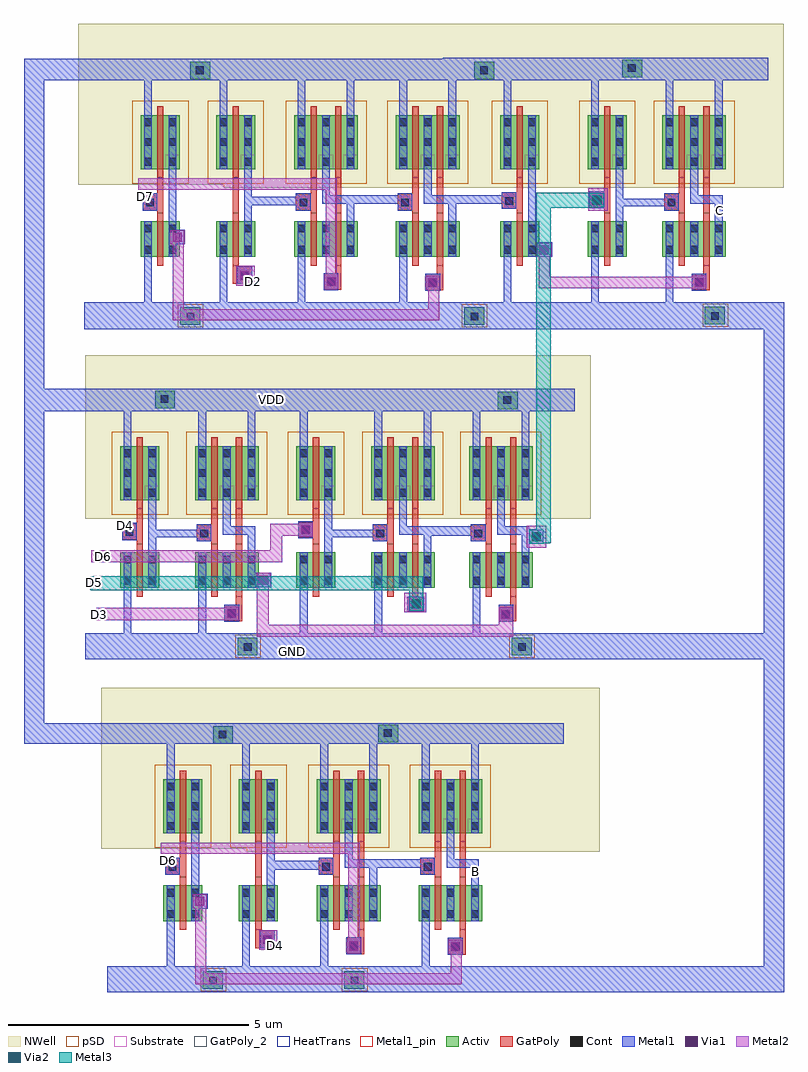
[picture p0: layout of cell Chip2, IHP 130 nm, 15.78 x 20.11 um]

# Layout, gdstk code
from math import pi, radians
import gdstk
lib = gdstk.Library(unit=1e-6, precision=1e-09)
def R(c, l, rs):  # rectangles x0, y0, x1, y1
    for r in rs: c.add(gdstk.rectangle(r[:2], r[2:], *l))
def A(c, l, x, y, w, h, nx, ny, dx, dy):  # array of equal rectangles
    R(c, l, [(x+i*dx, y+j*dy, x+i*dx+w, y+j*dy+h) for i in range(nx) for j in range(ny)])
def P(c, l, *ps):  # polygons
    for p in ps: c.add(gdstk.Polygon(p, *l))
Activ = (1, 0)
GatPoly = (5, 0)
GatPoly_2 = (5, 2)
Cont = (6, 0)
Metal1 = (8, 0)
Metal1_pin = (8, 2)
Metal2 = (10, 0)
pSD = (14, 0)
Via1 = (19, 0)
Via2 = (29, 0)
Metal3 = (30, 0)
NWell = (31, 0)
Substrate = (40, 0)
HeatTrans = (51, 0)

via_stack = lib.new_cell('via_stack')
R(via_stack, Metal1, [(-0.145,-0.145,0.145,0.145)])
R(via_stack, Metal2, [(-0.145,-0.145,0.145,0.145)])
R(via_stack, Via1, [(-0.095,-0.095,0.095,0.095)])

nmos = lib.new_cell('nmos')
R(nmos, Activ, [(0,0,0.3,0.3), (0,0,0.81,0.74), (0.51,0,0.81,0.3)])
R(nmos, GatPoly, [(0.34,-0.18,0.47,0.92)])
R(nmos, GatPoly_2, [(0.34,-0.18,0.47,0.92)])
R(nmos, Cont, [(0.07,0.07,0.23,0.23), (0.58,0.07,0.74,0.23), (0.07,0.51,0.23,0.67), (0.58,0.51,0.74,0.67)])
R(nmos, Metal1, [(0.07,0,0.23,0.74), (0.58,0,0.74,0.74)])
R(nmos, Metal1_pin, [(0.07,0,0.23,0.74), (0.58,0,0.74,0.74)])
R(nmos, HeatTrans, [(0.34,-0.18,0.47,0.92)])
nmos.add(gdstk.Label('nmos', (0.405,0.37), layer=63, texttype=0))
nmos.add(gdstk.Label('nmos', (0.405,0.37), layer=51, texttype=0))

pmos = lib.new_cell('pmos')
R(pmos, Activ, [(0,0,0.3,0.3), (0,0,0.81,1.12), (0.51,0,0.81,0.3)])
R(pmos, GatPoly, [(0.34,-0.18,0.47,1.3), (0.34,-0.18,0.47,1.3)])
A(pmos, Cont, 0.07, 0.07, 0.16, 0.16, 1, 3, 0, 0.41)
A(pmos, Cont, 0.58, 0.07, 0.16, 0.16, 1, 3, 0, 0.41)
R(pmos, Metal1, [(0.07,0,0.23,1.12), (0.07,0,0.23,1.12), (0.58,0,0.74,1.12), (0.58,0,0.74,1.12)])
R(pmos, pSD, [(-0.18,-0.3,0.99,1.42)])
R(pmos, NWell, [(-0.31,-0.31,1.12,1.43)])
R(pmos, Substrate, [(0.51,0,0.81,0.3)])
R(pmos, HeatTrans, [(0.34,-0.18,0.47,1.3)])
pmos.add(gdstk.Label('pmos', (0.405,0.56), layer=63, texttype=0))
pmos.add(gdstk.Label('pmos', (0.405,0.56), layer=51, texttype=0))

via_stack_1 = lib.new_cell('via_stack$1')
R(via_stack_1, Metal1, [(-0.145,-0.145,0.145,0.145)])
R(via_stack_1, Metal2, [(-0.145,-0.145,0.145,0.145)])
R(via_stack_1, Via1, [(-0.095,-0.095,0.095,0.095)])
R(via_stack_1, Via2, [(-0.095,-0.095,0.095,0.095)])
R(via_stack_1, Metal3, [(-0.145,-0.145,0.145,0.145)])

chip2 = lib.new_cell('Chip2')
R(chip2, Activ, [(8.46,-23.35,8.87,-22.985), (11.395,-23.35,11.805,-22.985), (8.67,-18.26,9.08,-17.895), (12.1,-18.23,12.51,-17.865), (9.18,-16.425,9.59,-16.06), (14.87,-16.425,15.28,-16.06), (14.58,-11.32,14.99,-10.955), (7.465,-11.3,7.875,-10.935), (7.99,-9.565,8.4,-9.2), (13.885,-9.565,14.295,-9.2), (18.88,-9.555,19.29,-9.19), (8.2,-4.475,8.61,-4.11), (14.095,-4.475,14.505,-4.11), (17.165,-4.43,17.575,-4.065)])
R(chip2, GatPoly, [(9.545,-21.055,9.675,-20.15), (11.675,-21.055,11.805,-20.15), (13.785,-21.055,13.915,-20.15), (9.145,-14.14,9.275,-13.235), (12.8,-14.14,12.93,-13.235), (14.835,-14.14,14.965,-13.235), (9.075,-7.27,9.205,-6.365), (11.205,-7.27,11.335,-6.365), (13.315,-7.27,13.445,-6.365), (16.785,-7.27,16.915,-6.365), (18.845,-7.27,18.975,-6.365)])
P(chip2, GatPoly, [(10.74,-14.14),(10.74,-13.985),(10.435,-13.985),(10.435,-13.655),(10.74,-13.655),(10.74,-13.235),(10.87,-13.235),(10.87,-14.14)],
  [(18.335,-7.27),(18.335,-7.19),(18.03,-7.19),(18.03,-6.845),(18.335,-6.845),(18.335,-6.365),(18.465,-6.365),(18.465,-7.27)],
  [(18.605,-8.855),(18.605,-8.51),(18.845,-8.51),(18.845,-8.285),(18.975,-8.285),(18.975,-8.855)],
  [(14.97,-7.24),(14.97,-7.16),(14.665,-7.16),(14.665,-6.815),(14.97,-6.815),(14.97,-6.335),(15.1,-6.335),(15.1,-7.24)],
  [(7.085,-14.11),(7.085,-14.03),(6.78,-14.03),(6.78,-13.685),(7.085,-13.685),(7.085,-13.205),(7.215,-13.205),(7.215,-14.11)],
  [(12.7,-15.515),(12.7,-15.21),(12.8,-15.21),(12.8,-15.13),(12.93,-15.13),(12.93,-15.21),(13.045,-15.21),(13.045,-15.515)],
  [(12.29,-14.14),(12.29,-14.06),(11.985,-14.06),(11.985,-13.715),(12.29,-13.715),(12.29,-13.235),(12.42,-13.235),(12.42,-14.14)],
  [(8.905,-15.725),(8.905,-15.38),(9.145,-15.38),(9.145,-15.155),(9.275,-15.155),(9.275,-15.725)],
  [(8.635,-14.14),(8.635,-14.06),(8.33,-14.06),(8.33,-13.715),(8.635,-13.715),(8.635,-13.235),(8.765,-13.235),(8.765,-14.14)],
  [(14.595,-15.725),(14.595,-15.38),(14.835,-15.38),(14.835,-15.155),(14.965,-15.155),(14.965,-15.725)],
  [(14.325,-14.14),(14.325,-14.06),(14.02,-14.06),(14.02,-13.715),(14.325,-13.715),(14.325,-13.235),(14.455,-13.235),(14.455,-14.14)],
  [(9.545,-22.505),(9.545,-22.115),(9.675,-22.115),(9.675,-22.15),(9.95,-22.15),(9.95,-22.505)],
  [(7.98,-21.055),(7.98,-20.98),(7.675,-20.98),(7.675,-20.625),(7.98,-20.625),(7.98,-20.15),(8.11,-20.15),(8.11,-21.055)],
  [(11.435,-22.63),(11.435,-22.285),(11.675,-22.285),(11.675,-22.06),(11.805,-22.06),(11.805,-22.63)],
  [(13.545,-22.64),(13.545,-22.295),(13.785,-22.295),(13.785,-22.07),(13.915,-22.07),(13.915,-22.64)],
  [(13.275,-21.055),(13.275,-20.975),(12.97,-20.975),(12.97,-20.63),(13.275,-20.63),(13.275,-20.15),(13.405,-20.15),(13.405,-21.055)],
  [(11.165,-21.055),(11.165,-20.975),(10.86,-20.975),(10.86,-20.63),(11.165,-20.63),(11.165,-20.15),(11.295,-20.15),(11.295,-21.055)],
  [(16.48,-7.145),(16.48,-6.8),(16.785,-6.8),(16.785,-6.9),(16.865,-6.9),(16.865,-7.03),(16.785,-7.03),(16.785,-7.145)],
  [(9.075,-8.72),(9.075,-8.33),(9.205,-8.33),(9.205,-8.365),(9.48,-8.365),(9.48,-8.72)],
  [(7.51,-7.27),(7.51,-7.195),(7.205,-7.195),(7.205,-6.84),(7.51,-6.84),(7.51,-6.365),(7.64,-6.365),(7.64,-7.27)],
  [(10.965,-8.845),(10.965,-8.5),(11.205,-8.5),(11.205,-8.275),(11.335,-8.275),(11.335,-8.845)],
  [(13.075,-8.855),(13.075,-8.51),(13.315,-8.51),(13.315,-8.285),(13.445,-8.285),(13.445,-8.855)],
  [(12.805,-7.27),(12.805,-7.19),(12.5,-7.19),(12.5,-6.845),(12.805,-6.845),(12.805,-6.365),(12.935,-6.365),(12.935,-7.27)],
  [(10.695,-7.27),(10.695,-7.19),(10.39,-7.19),(10.39,-6.845),(10.695,-6.845),(10.695,-6.365),(10.825,-6.365),(10.825,-7.27)])
R(chip2, Cont, [(8.59,-23.26,8.75,-23.1), (11.525,-23.26,11.685,-23.1), (13.62,-22.56,13.78,-22.4), (13.62,-22.56,13.78,-22.4), (11.51,-22.55,11.67,-22.39), (11.51,-22.55,11.67,-22.39), (9.72,-22.42,9.88,-22.26), (9.72,-22.42,9.88,-22.26), (7.75,-20.895,7.91,-20.735), (7.75,-20.895,7.91,-20.735), (10.935,-20.895,11.095,-20.735), (10.935,-20.895,11.095,-20.735), (13.045,-20.895,13.205,-20.735), (13.045,-20.895,13.205,-20.735), (8.785,-18.15,8.945,-17.99), (12.215,-18.12,12.375,-17.96), (9.31,-16.335,9.47,-16.175), (15,-16.335,15.16,-16.175), (8.98,-15.645,9.14,-15.485), (8.98,-15.645,9.14,-15.485), (14.67,-15.645,14.83,-15.485), (14.67,-15.645,14.83,-15.485), (12.805,-15.44,12.965,-15.28), (12.805,-15.44,12.965,-15.28), (8.405,-13.98,8.565,-13.82), (8.405,-13.98,8.565,-13.82), (12.06,-13.98,12.22,-13.82), (12.06,-13.98,12.22,-13.82), (14.095,-13.98,14.255,-13.82), (14.095,-13.98,14.255,-13.82), (6.855,-13.95,7.015,-13.79), (6.855,-13.95,7.015,-13.79), (10.51,-13.91,10.67,-13.75), (10.51,-13.91,10.67,-13.75), (14.695,-11.21,14.855,-11.05), (7.58,-11.19,7.74,-11.03), (8.12,-9.475,8.28,-9.315), (14.015,-9.475,14.175,-9.315), (19.01,-9.465,19.17,-9.305), (13.15,-8.775,13.31,-8.615), (13.15,-8.775,13.31,-8.615), (18.68,-8.775,18.84,-8.615), (18.68,-8.775,18.84,-8.615), (11.04,-8.765,11.2,-8.605), (11.04,-8.765,11.2,-8.605), (9.25,-8.635,9.41,-8.475), (9.25,-8.635,9.41,-8.475), (7.28,-7.11,7.44,-6.95), (7.28,-7.11,7.44,-6.95), (10.465,-7.11,10.625,-6.95), (10.465,-7.11,10.625,-6.95), (12.575,-7.11,12.735,-6.95), (12.575,-7.11,12.735,-6.95), (18.105,-7.11,18.265,-6.95), (18.105,-7.11,18.265,-6.95), (14.735,-7.075,14.895,-6.915), (16.555,-7.065,16.715,-6.905), (16.555,-7.065,16.715,-6.905), (8.315,-4.365,8.475,-4.205), (14.21,-4.365,14.37,-4.205), (17.28,-4.32,17.44,-4.16)])
R(chip2, Metal1, [(10.895,-22.97,11.055,-21.905), (13.005,-22.97,13.165,-21.905), (13.545,-22.645,13.85,-22.29), (11.435,-22.635,11.74,-22.28), (9.645,-22.505,9.95,-22.15), (8.22,-21.685,8.555,-21.38), (8.22,-21.685,8.555,-21.38), (8.22,-21.26,8.38,-20.12), (9.785,-21.26,9.945,-20.12), (7.675,-20.98,7.98,-20.625), (10.86,-20.98,11.165,-20.625), (12.97,-20.98,13.275,-20.625), (9.79,-20.875,10.86,-20.695), (11.9,-20.84,12.97,-20.66), (11.915,-19.22,12.075,-18.155), (14.025,-19.22,14.185,-18.155), (8.365,-16.055,8.525,-14.99), (12.02,-16.055,12.18,-14.99), (14.055,-16.055,14.215,-14.99), (8.905,-15.73,9.21,-15.375), (14.595,-15.73,14.9,-15.375), (12.695,-15.515,13.05,-15.21), (9.545,-15.02,9.88,-14.715), (9.545,-15.02,9.88,-14.715), (7.325,-14.345,7.485,-13.205), (10.98,-14.345,11.14,-13.205), (8.33,-14.065,8.635,-13.71), (11.985,-14.065,12.29,-13.71), (6.78,-14.035,7.085,-13.68), (10.435,-13.995,10.74,-13.64), (7.425,-13.98,8.565,-13.82), (11.08,-13.98,12.22,-13.82), (13.075,-8.86,13.38,-8.505), (18.605,-8.86,18.91,-8.505), (10.965,-8.85,11.27,-8.495), (9.175,-8.72,9.48,-8.365), (15.37,-8.16,15.705,-7.855), (15.37,-8.16,15.705,-7.855), (7.75,-7.9,8.085,-7.595), (7.75,-7.9,8.085,-7.595), (7.75,-7.475,7.91,-6.335), (9.315,-7.475,9.475,-6.335), (15.21,-7.475,15.37,-6.335), (17.025,-7.475,17.185,-6.335), (7.205,-7.195,7.51,-6.84), (10.39,-7.195,10.695,-6.84), (12.5,-7.195,12.805,-6.84), (18.03,-7.195,18.335,-6.84), (16.48,-7.15,16.785,-6.795), (17.125,-7.11,18.265,-6.95), (9.32,-7.09,10.39,-6.91), (11.43,-7.055,12.5,-6.875)])
P(chip2, Metal1, [(13.555,-8.075),(13.555,-7.055),(13.045,-7.055),(13.045,-5.95),(13.205,-5.95),(13.205,-6.875),(14.665,-6.875),(14.665,-6.815),(14.96,-6.815),(14.96,-7.16),(14.665,-7.16),(14.665,-7.055),(13.715,-7.055),(13.715,-8.075)],
  [(10.895,-19.07),(10.895,-18.26),(9.435,-18.26),(9.435,-19.01),(9.275,-19.01),(9.275,-18.26),(7.87,-18.26),(7.87,-19.01),(7.71,-19.01),(7.71,-18.26),(4.745,-18.26),(4.745,-4.04),(13.44,-4.04),(13.44,-4.025),(20.19,-4.025),(20.19,-4.495),(19.245,-4.495),(19.245,-5.435),(19.085,-5.435),(19.085,-4.495),(18.225,-4.495),(18.225,-5.285),(18.065,-5.285),(18.065,-4.495),(16.675,-4.495),(16.675,-5.225),(16.515,-5.225),(16.515,-4.495),(14.86,-4.495),(14.86,-5.225),(14.7,-5.225),(14.7,-4.495),(13.715,-4.495),(13.715,-5.435),(13.555,-5.435),(13.555,-4.495),(12.695,-4.495),(12.695,-5.285),(12.535,-5.285),(12.535,-4.495),(11.605,-4.495),(11.605,-5.435),(11.445,-5.435),(11.445,-4.495),(10.585,-4.495),(10.585,-5.285),(10.425,-5.285),(10.425,-4.495),(8.965,-4.495),(8.965,-5.225),(8.805,-5.225),(8.805,-4.495),(7.4,-4.495),(7.4,-5.225),(7.24,-5.225),(7.24,-4.495),(5.17,-4.495),(5.17,-10.895),(16.18,-10.895),(16.18,-11.36),(15.235,-11.36),(15.235,-12.305),(15.075,-12.305),(15.075,-11.36),(14.215,-11.36),(14.215,-12.155),(14.055,-12.155),(14.055,-11.36),(13.2,-11.36),(13.2,-12.305),(13.04,-12.305),(13.04,-11.36),(12.18,-11.36),(12.18,-12.155),(12.02,-12.155),(12.02,-11.36),(10.63,-11.36),(10.63,-12.095),(10.47,-12.095),(10.47,-11.36),(9.545,-11.36),(9.545,-12.305),(9.385,-12.305),(9.385,-11.36),(8.525,-11.36),(8.525,-12.155),(8.365,-12.155),(8.365,-11.36),(6.975,-11.36),(6.975,-12.095),(6.815,-12.095),(6.815,-11.36),(5.17,-11.36),(5.17,-17.835),(15.945,-17.835),(15.945,-18.26),(13.165,-18.26),(13.165,-19.07),(13.005,-19.07),(13.005,-18.26),(11.055,-18.26),(11.055,-19.07)],
  [(5.995,-9.655),(5.995,-9.095),(7.24,-9.095),(7.24,-8.145),(7.4,-8.145),(7.4,-9.095),(8.805,-9.095),(8.805,-8.155),(8.965,-8.155),(8.965,-9.095),(10.425,-9.095),(10.425,-8.12),(10.585,-8.12),(10.585,-9.095),(12.535,-9.095),(12.535,-8.12),(12.695,-8.12),(12.695,-9.095),(14.7,-9.095),(14.7,-8.14),(14.86,-8.14),(14.86,-9.095),(16.515,-9.095),(16.515,-8.115),(16.675,-8.115),(16.675,-9.095),(18.065,-9.095),(18.065,-8.12),(18.225,-8.12),(18.225,-9.095),(20.52,-9.095),(20.52,-9.655)],
  [(6.475,-23.425),(6.475,-22.885),(7.71,-22.885),(7.71,-21.93),(7.87,-21.93),(7.87,-22.885),(9.275,-22.885),(9.275,-21.94),(9.435,-21.94),(9.435,-22.885),(20.095,-22.885),(20.095,-16.51),(6.02,-16.51),(6.02,-15.97),(6.815,-15.97),(6.815,-14.985),(6.975,-14.985),(6.975,-15.97),(10.47,-15.97),(10.47,-14.985),(10.63,-14.985),(10.63,-15.97),(20.095,-15.97),(20.095,-9.095),(20.52,-9.095),(20.52,-23.425)],
  [(19.085,-8.075),(19.085,-7.055),(18.575,-7.055),(18.575,-5.95),(18.735,-5.95),(18.735,-6.875),(19.245,-6.875),(19.245,-8.075)],
  [(13.04,-14.945),(13.04,-13.925),(12.53,-13.925),(12.53,-12.82),(12.69,-12.82),(12.69,-13.745),(14.02,-13.745),(14.02,-13.71),(14.325,-13.71),(14.325,-14.065),(14.02,-14.065),(14.02,-13.945),(13.2,-13.945),(13.2,-14.945)],
  [(9.385,-14.945),(9.385,-13.925),(8.875,-13.925),(8.875,-12.82),(9.035,-12.82),(9.035,-13.745),(9.545,-13.745),(9.545,-14.945)],
  [(15.075,-14.945),(15.075,-13.925),(14.565,-13.925),(14.565,-12.82),(14.725,-12.82),(14.725,-13.745),(15.235,-13.745),(15.235,-14.945)],
  [(14.025,-21.86),(14.025,-20.84),(13.515,-20.84),(13.515,-19.735),(13.675,-19.735),(13.675,-20.66),(14.185,-20.66),(14.185,-21.86)],
  [(11.915,-21.86),(11.915,-20.84),(11.405,-20.84),(11.405,-19.735),(11.565,-19.735),(11.565,-20.66),(12.075,-20.66),(12.075,-21.86)],
  [(11.445,-8.075),(11.445,-7.055),(10.935,-7.055),(10.935,-5.95),(11.095,-5.95),(11.095,-6.875),(11.605,-6.875),(11.605,-8.075)])
R(chip2, Metal2, [(11.48,-22.61,11.71,-20.535), (9.625,-22.54,10.005,-22.13), (7.585,-20.545,9.66,-20.315), (9.635,-20.545,11.71,-20.315), (6.24,-15.7,9.185,-15.445), (12.635,-15.535,13.095,-15.13), (15.185,-14.2,15.59,-13.74), (11.01,-8.825,11.24,-6.75), (15.43,-8.805,15.66,-7.865), (15.53,-8.805,17.1,-8.575), (15.8,-8.805,18.625,-8.575), (9.155,-8.755,9.535,-8.345), (16.46,-7.195,16.865,-6.735), (7.115,-6.76,9.19,-6.53), (9.165,-6.76,11.24,-6.53)])
P(chip2, Metal2, [(6.14,-14.5),(6.14,-14.245),(9.855,-14.245),(9.855,-13.695),(10.545,-13.695),(10.545,-13.95),(10.11,-13.95),(10.11,-14.5)],
  [(9.575,-16.045),(9.575,-14.715),(9.83,-14.715),(9.83,-15.79),(14.6,-15.79),(14.6,-15.72),(14.63,-15.72),(14.63,-15.475),(14.855,-15.475),(14.855,-15.72),(14.9,-15.72),(14.9,-16.045)],
  [(8.3,-23.255),(8.3,-21.435),(8.44,-21.435),(8.44,-21.39),(8.53,-21.39),(8.53,-23.025),(13.605,-23.025),(13.605,-22.385),(13.8,-22.385),(13.8,-22.625),(13.835,-22.625),(13.835,-23.255)],
  [(7.83,-9.47),(7.83,-7.65),(7.97,-7.65),(7.97,-7.605),(8.06,-7.605),(8.06,-9.24),(13.135,-9.24),(13.135,-8.6),(13.33,-8.6),(13.33,-8.84),(13.365,-8.84),(13.365,-9.47)])
R(chip2, pSD, [(8.41,-23.4,8.94,-22.925), (11.345,-23.4,11.875,-22.925), (9.13,-16.475,9.66,-16), (14.82,-16.475,15.35,-16), (7.94,-9.615,8.47,-9.14), (13.835,-9.615,14.365,-9.14), (18.83,-9.605,19.36,-9.13)])
P(chip2, Metal3, [(12.74,-15.225),(12.74,-15.08),(6.12,-15.08),(6.12,-14.785),(13.03,-14.785),(13.03,-15.225)],
  [(15.235,-14.105),(15.235,-13.815),(15.38,-13.815),(15.38,-6.83),(16.705,-6.83),(16.705,-7.135),(15.675,-7.135),(15.675,-14.105)])
R(chip2, NWell, [(9.365,-20.51,13.995,-17.1), (13.23,-20.51,16.7,-17.1), (6.345,-20.445,9.715,-17.1), (7.91,-20.445,11.28,-17.1), (6.02,-13.595,10.815,-10.2), (9.675,-13.595,14.47,-10.2), (12.695,-13.595,16.505,-10.2)])
P(chip2, NWell, [(8.895,-6.725),(8.895,-6.66),(5.875,-6.66),(5.875,-3.315),(20.515,-3.315),(20.515,-6.725)],
  [(7.57,-7.065),(7.57,-7.065),(7.57,-7.065),(7.57,-7.065)])
chip2.add(gdstk.Reference(via_stack, (9.33,-8.545)))
chip2.add(gdstk.Reference(via_stack, (7.925,-7.75)))
chip2.add(gdstk.Reference(via_stack, (13.23,-8.695)))
chip2.add(gdstk.Reference(via_stack, (11.12,-8.675)))
chip2.add(gdstk.Reference(nmos, (7.17,-8.16)))
chip2.add(gdstk.Reference(pmos, (7.17,-6.335)))
chip2.add(gdstk.Reference(pmos, (8.735,-6.335)))
chip2.add(gdstk.Reference(nmos, (8.735,-8.16)))
chip2.add(gdstk.Reference(nmos, (12.465,-8.16)))
chip2.add(gdstk.Reference(pmos, (12.975,-6.335)))
chip2.add(gdstk.Reference(pmos, (12.465,-6.335)))
chip2.add(gdstk.Reference(nmos, (12.975,-8.16)))
chip2.add(gdstk.Reference(nmos, (10.355,-8.16)))
chip2.add(gdstk.Reference(pmos, (10.865,-6.335)))
chip2.add(gdstk.Reference(pmos, (10.355,-6.335)))
chip2.add(gdstk.Reference(nmos, (10.865,-8.16)))
chip2.add(gdstk.Reference(nmos, (11.335,-21.945)))
chip2.add(gdstk.Reference(pmos, (10.825,-20.12)))
chip2.add(gdstk.Reference(pmos, (11.335,-20.12)))
chip2.add(gdstk.Reference(nmos, (10.825,-21.945)))
chip2.add(gdstk.Reference(nmos, (13.445,-21.945)))
chip2.add(gdstk.Reference(pmos, (12.935,-20.12)))
chip2.add(gdstk.Reference(pmos, (13.445,-20.12)))
chip2.add(gdstk.Reference(nmos, (12.935,-21.945)))
chip2.add(gdstk.Reference(nmos, (9.205,-21.945)))
chip2.add(gdstk.Reference(pmos, (9.205,-20.12)))
chip2.add(gdstk.Reference(pmos, (7.64,-20.12)))
chip2.add(gdstk.Reference(nmos, (7.64,-21.945)))
chip2.add(gdstk.Reference(via_stack, (11.59,-22.46)))
chip2.add(gdstk.Reference(via_stack, (13.7,-22.48)))
chip2.add(gdstk.Reference(via_stack, (8.395,-21.535)))
chip2.add(gdstk.Reference(via_stack, (9.8,-22.33)))
chip2.add(gdstk.Reference(pmos, (16.445,-6.335)))
chip2.add(gdstk.Reference(nmos, (17.995,-8.16)))
chip2.add(gdstk.Reference(pmos, (18.505,-6.335)))
chip2.add(gdstk.Reference(pmos, (17.995,-6.335)))
chip2.add(gdstk.Reference(nmos, (18.505,-8.16)))
chip2.add(gdstk.Reference(nmos, (16.445,-8.16)))
chip2.add(gdstk.Reference(pmos, (14.63,-6.335)))
chip2.add(gdstk.Reference(nmos, (14.63,-8.16)))
chip2.add(gdstk.Reference(via_stack, (18.76,-8.685)))
chip2.add(gdstk.Reference(via_stack, (15.545,-8.01)))
chip2.add(gdstk.Reference(via_stack_1, (15.38,-13.965)))
chip2.add(gdstk.Reference(via_stack_1, (16.64,-6.985), rotation=pi/2))
chip2.add(gdstk.Reference(pmos, (10.4,-13.205)))
chip2.add(gdstk.Reference(nmos, (11.95,-15.03)))
chip2.add(gdstk.Reference(pmos, (12.46,-13.205)))
chip2.add(gdstk.Reference(pmos, (11.95,-13.205)))
chip2.add(gdstk.Reference(nmos, (12.46,-15.03)))
chip2.add(gdstk.Reference(nmos, (10.4,-15.03)))
chip2.add(gdstk.Reference(nmos, (6.745,-15.03)))
chip2.add(gdstk.Reference(nmos, (8.805,-15.03)))
chip2.add(gdstk.Reference(pmos, (8.295,-13.205)))
chip2.add(gdstk.Reference(pmos, (8.805,-13.205)))
chip2.add(gdstk.Reference(nmos, (8.295,-15.03)))
chip2.add(gdstk.Reference(pmos, (6.745,-13.205)))
chip2.add(gdstk.Reference(nmos, (14.495,-15.03)))
chip2.add(gdstk.Reference(pmos, (13.985,-13.205)))
chip2.add(gdstk.Reference(pmos, (14.495,-13.205)))
chip2.add(gdstk.Reference(nmos, (13.985,-15.03)))
chip2.add(gdstk.Reference(via_stack, (9.72,-14.87)))
chip2.add(gdstk.Reference(via_stack, (14.745,-15.575)))
chip2.add(gdstk.Reference(via_stack, (9.06,-15.56)))
chip2.add(gdstk.Reference(via_stack, (10.59,-13.825)))
chip2.add(gdstk.Reference(via_stack_1, (12.885,-15.355), rotation=pi))
chip2.add(gdstk.Label('C', (19.175,-7.2), layer=8, texttype=0))
chip2.add(gdstk.Label('D4', (6.85,-13.735), layer=8, texttype=0))
chip2.add(gdstk.Label('VDD', (9.885,-11.115), layer=8, texttype=0))
chip2.add(gdstk.Label('GND', (10.32,-16.355), layer=8, texttype=0))
chip2.add(gdstk.Label('D6', (7.745,-20.69), layer=8, texttype=0))
chip2.add(gdstk.Label('B', (14.12,-20.905), layer=8, texttype=0))
chip2.add(gdstk.Label('D7', (7.275,-6.905), layer=8, texttype=0))
chip2.add(gdstk.Label('D3', (6.31,-15.58), layer=10, texttype=0))
chip2.add(gdstk.Label('D6', (6.405,-14.38), layer=10, texttype=0))
chip2.add(gdstk.Label('D4', (9.975,-22.445), layer=10, texttype=0))
chip2.add(gdstk.Label('D2', (7.73,-20.49), layer=10, texttype=0))
chip2.add(gdstk.Label('D1', (7.13,-6.745), layer=10, texttype=0))
chip2.add(gdstk.Label('D2', (9.505,-8.66), layer=10, texttype=0))
chip2.add(gdstk.Label('D5', (6.21,-14.92), layer=30, texttype=0))

lib.write_gds('Chip2.gds')
